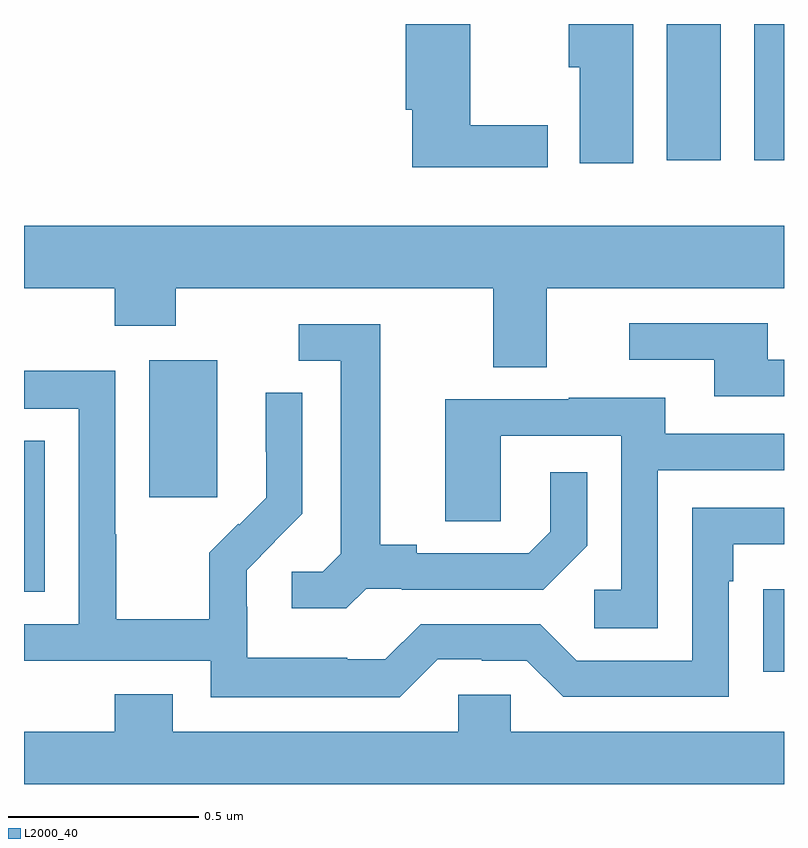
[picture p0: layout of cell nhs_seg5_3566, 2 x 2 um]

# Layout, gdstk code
import gdstk
lib = gdstk.Library(unit=1e-6, precision=1e-09)
def R(c, l, rs):  # rectangles x0, y0, x1, y1
    for r in rs: c.add(gdstk.rectangle(r[:2], r[2:], *l))
def P(c, l, *ps):  # polygons
    for p in ps: c.add(gdstk.Polygon(p, *l))
L2000_40 = (2000, 40)

nhs_seg5_3566 = lib.new_cell('nhs_seg5_3566')
R(nhs_seg5_3566, L2000_40, [(160.945,845.094,161,845.312), (159,845.305,159.055,845.702), (159.329,845.553,159.508,845.914), (160.691,846.44,160.834,846.799), (160.922,846.44,161,846.799)])
P(nhs_seg5_3566, L2000_40, [(160.603,846.799),(160.433,846.799),(160.433,846.685),(160.463,846.685),(160.463,846.432),(160.603,846.432)],
  [(160.378,846.532),(160.174,846.532),(160.174,846.799),(160.004,846.799),(160.004,846.573),(160.022,846.573),(160.022,846.422),(160.378,846.422)],
  [(160.375,846.104),(161,846.104),(161,846.268),(159,846.268),(159,846.104),(159.239,846.104),(159.239,846.005),(159.399,846.005),(159.399,846.104),(160.235,846.104),(160.235,845.896),(160.375,845.896)],
  [(161,845.916),(160.957,845.916),(160.957,846.012),(160.593,846.012),(160.593,845.916),(160.817,845.916),(160.817,845.82),(161,845.82)],
  [(159.9,845.313),(159.994,845.313),(159.994,845.31),(160.366,845.31),(160.482,845.426),(160.482,845.62),(160.385,845.62),(160.385,845.463),(160.328,845.406),(160.033,845.406),(160.033,845.429),(159.937,845.429),(159.937,846.009),(159.723,846.009),(159.723,845.913),(159.833,845.913),(159.833,845.405),(159.786,845.358),(159.705,845.358),(159.705,845.261),(159.848,845.261)],
  [(160.089,845.127),(160.205,845.127),(160.205,845.124),(160.323,845.124),(160.419,845.028),(160.854,845.028),(160.854,845.333),(160.867,845.333),(160.867,845.43),(161,845.43),(161,845.526),(160.758,845.526),(160.758,845.124),(160.455,845.124),(160.359,845.22),(160.044,845.22),(159.951,845.127),(159.851,845.127),(159.851,845.131),(159.588,845.131),(159.588,845.265),(159.586,845.265),(159.586,845.362),(159.66,845.436),(159.659,845.437),(159.732,845.51),(159.732,845.828),(159.636,845.828),(159.636,845.674),(159.638,845.674),(159.638,845.552),(159.567,845.481),(159.564,845.484),(159.487,845.407),(159.487,845.233),(159.243,845.233),(159.243,845.456),(159.24,845.456),(159.24,845.886),(159,845.886),(159,845.787),(159.144,845.787),(159.144,845.22),(159,845.22),(159,845.124),(159.492,845.124),(159.492,845.027),(159.989,845.027)],
  [(160.668,845.625),(161,845.625),(161,845.721),(160.687,845.721),(160.687,845.815),(160.433,845.815),(160.433,845.811),(160.109,845.811),(160.109,845.491),(160.254,845.491),(160.254,845.715),(160.572,845.715),(160.572,845.31),(160.5,845.31),(160.5,845.209),(160.668,845.209)],
  [(161,844.936),(160.281,844.936),(160.281,845.034),(160.143,845.034),(160.143,844.936),(159.391,844.936),(159.391,845.035),(159.239,845.035),(159.239,844.936),(159,844.936),(159,844.799),(161,844.799)])

lib.write_gds('nhs_seg5_3566.gds')
